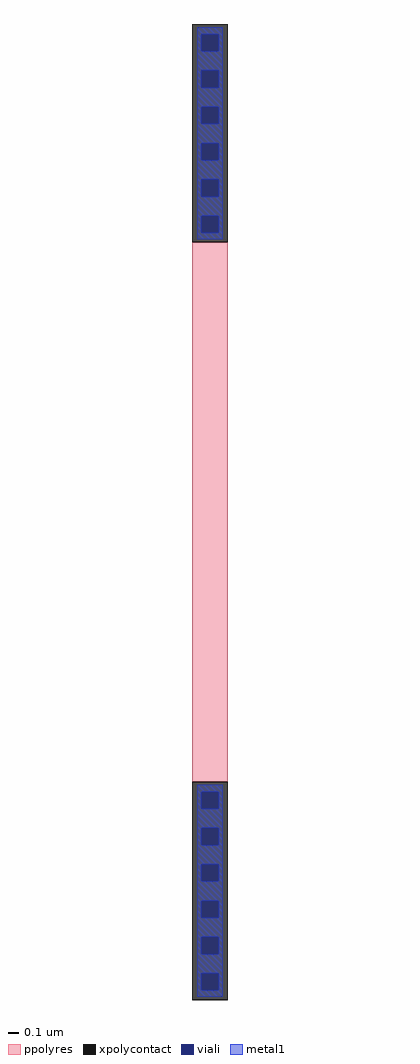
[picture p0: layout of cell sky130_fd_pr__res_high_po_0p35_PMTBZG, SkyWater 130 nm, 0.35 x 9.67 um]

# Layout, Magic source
magic
tech sky130A
magscale 1 2
<< xpolycontact >>
rect -35 535 35 967
rect -35 -967 35 -535
<< ppolyres >>
rect -35 -535 35 535
<< viali >>
rect -17 913 17 947
rect -17 841 17 875
rect -17 769 17 803
rect -17 697 17 731
rect -17 625 17 659
rect -17 553 17 587
rect -17 -588 17 -554
rect -17 -660 17 -626
rect -17 -732 17 -698
rect -17 -804 17 -770
rect -17 -876 17 -842
rect -17 -948 17 -914
<< metal1 >>
rect -25 947 25 961
rect -25 913 -17 947
rect 17 913 25 947
rect -25 875 25 913
rect -25 841 -17 875
rect 17 841 25 875
rect -25 803 25 841
rect -25 769 -17 803
rect 17 769 25 803
rect -25 731 25 769
rect -25 697 -17 731
rect 17 697 25 731
rect -25 659 25 697
rect -25 625 -17 659
rect 17 625 25 659
rect -25 587 25 625
rect -25 553 -17 587
rect 17 553 25 587
rect -25 540 25 553
rect -25 -554 25 -540
rect -25 -588 -17 -554
rect 17 -588 25 -554
rect -25 -626 25 -588
rect -25 -660 -17 -626
rect 17 -660 25 -626
rect -25 -698 25 -660
rect -25 -732 -17 -698
rect 17 -732 25 -698
rect -25 -770 25 -732
rect -25 -804 -17 -770
rect 17 -804 25 -770
rect -25 -842 25 -804
rect -25 -876 -17 -842
rect 17 -876 25 -842
rect -25 -914 25 -876
rect -25 -948 -17 -914
rect 17 -948 25 -914
rect -25 -961 25 -948
<< end >>
